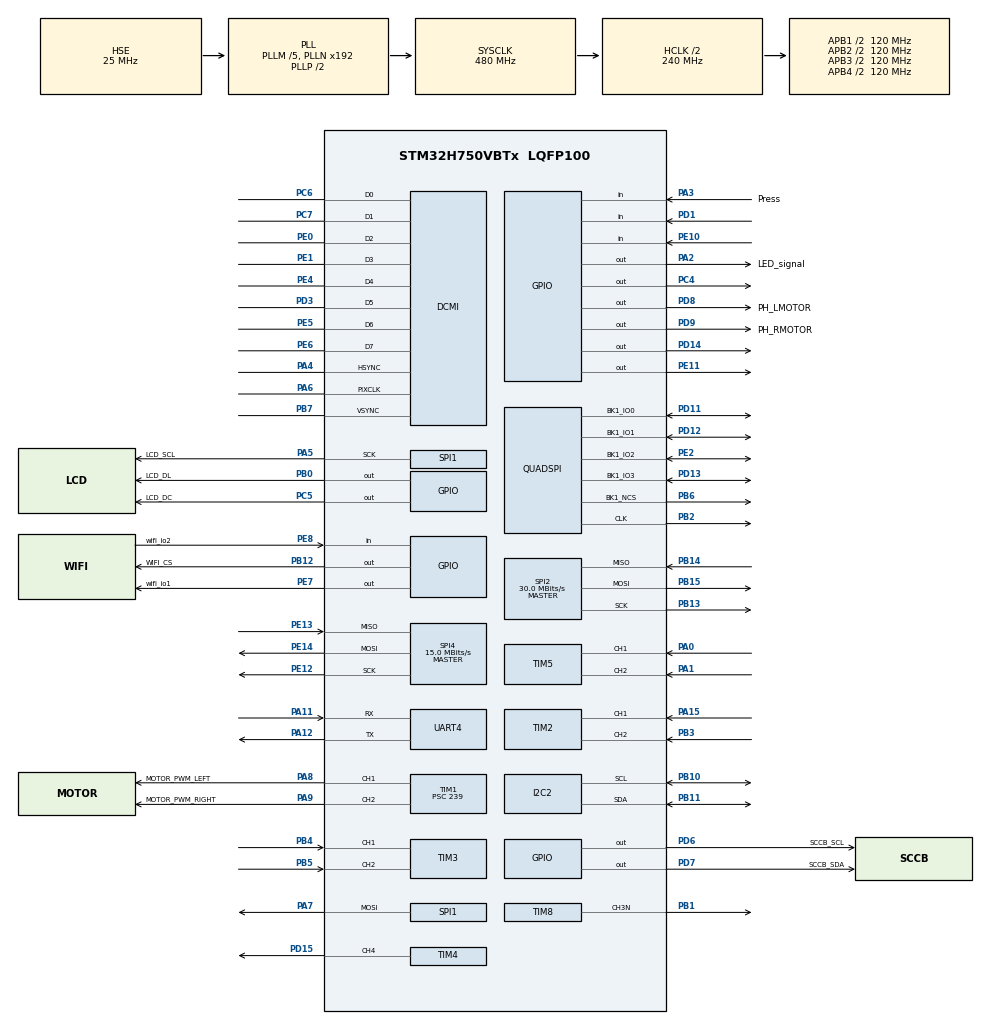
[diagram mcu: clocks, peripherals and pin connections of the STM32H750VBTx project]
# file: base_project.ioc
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CORTEX_M7.CPU_DCache=Enabled
CORTEX_M7.CPU_ICache=Enabled
CORTEX_M7.default_mode_Activation=0
Dma.DCMI.0.Direction=DMA_PERIPH_TO_MEMORY
Dma.DCMI.0.EventEnable=DISABLE
Dma.DCMI.0.FIFOMode=DMA_FIFOMODE_ENABLE
Dma.DCMI.0.FIFOThreshold=DMA_FIFO_THRESHOLD_FULL
Dma.DCMI.0.Instance=DMA2_Stream7
Dma.DCMI.0.MemBurst=DMA_MBURST_SINGLE
Dma.DCMI.0.MemDataAlignment=DMA_MDATAALIGN_WORD
Dma.DCMI.0.MemInc=DMA_MINC_ENABLE
Dma.DCMI.0.Mode=DMA_CIRCULAR
Dma.DCMI.0.PeriphBurst=DMA_PBURST_SINGLE
Dma.DCMI.0.PeriphDataAlignment=DMA_PDATAALIGN_WORD
Dma.DCMI.0.PeriphInc=DMA_PINC_DISABLE
Dma.DCMI.0.Polarity=HAL_DMAMUX_REQ_GEN_RISING
Dma.DCMI.0.Priority=DMA_PRIORITY_LOW
Dma.DCMI.0.RequestNumber=1
Dma.DCMI.0.SignalID=NONE
Dma.DCMI.0.SyncEnable=DISABLE
Dma.DCMI.0.SyncPolarity=HAL_DMAMUX_SYNC_NO_EVENT
Dma.DCMI.0.SyncRequestNumber=1
Dma.DCMI.0.SyncSignalID=NONE
Dma.Request0=DCMI
I2C2.Timing=0x307075B1
Mcu.Family=STM32H7
Mcu.Name=STM32H750VBTx
Mcu.Package=LQFP100
NVIC.DCMI_IRQn=true\:5\:0\:true\:false\:true\:true\:true\:true
NVIC.DMA2_Stream7_IRQn=true\:0\:0\:false\:false\:true\:false\:true\:true
NVIC.PriorityGroup=NVIC_PRIORITYGROUP_4
NVIC.TIM15_IRQn=true\:0\:0\:false\:false\:true\:true\:true\:true
NVIC.TIM16_IRQn=true\:0\:0\:false\:false\:true\:true\:true\:true
NVIC.TIM3_IRQn=true\:12\:0\:true\:false\:true\:true\:true\:true
NVIC.TIM6_DAC_IRQn=true\:7\:0\:true\:false\:true\:true\:true\:true
NVIC.TIM7_IRQn=true\:8\:0\:true\:false\:true\:true\:true\:true
NVIC.UART4_IRQn=true\:0\:0\:false\:false\:true\:true\:true\:true
PA0.GPIO_Speed=GPIO_SPEED_FREQ_VERY_HIGH
PA0.Signal=S_TIM5_CH1
PA1.GPIO_Speed=GPIO_SPEED_FREQ_VERY_HIGH
PA1.Signal=S_TIM5_CH2
PA11.Mode=Asynchronous
PA11.Signal=UART4_RX
PA12.Mode=Asynchronous
PA12.Signal=UART4_TX
PA13\ (JTMS/SWDIO).Mode=Serial_Wire
PA13\ (JTMS/SWDIO).Signal=DEBUG_JTMS-SWDIO
PA14\ (JTCK/SWCLK).Mode=Serial_Wire
PA14\ (JTCK/SWCLK).Signal=DEBUG_JTCK-SWCLK
PA15\ (JTDI).GPIO_Speed=GPIO_SPEED_FREQ_VERY_HIGH
PA15\ (JTDI).Signal=S_TIM2_CH1_ETR
PA2.GPIO_Label=LED_signal
PA2.PinState=GPIO_PIN_SET
PA2.Signal=GPIO_Output
PA3.GPIO_Label=Press
PA3.GPIO_PuPd=GPIO_PULLUP
PA3.Signal=GPIO_Input
PA4.Mode=Slave_8_bits_External_Synchro
PA4.Signal=DCMI_HSYNC
PA5.GPIO_Label=LCD_SCL
PA5.GPIO_Speed=GPIO_SPEED_FREQ_VERY_HIGH
PA5.Mode=TX_Only_Simplex_Unidirect_Master
PA5.Signal=SPI1_SCK
PA6.Mode=Slave_8_bits_External_Synchro
PA6.Signal=DCMI_PIXCLK
PA7.GPIO_Speed=GPIO_SPEED_FREQ_VERY_HIGH
PA7.Mode=TX_Only_Simplex_Unidirect_Master
PA7.Signal=SPI1_MOSI
PA8.GPIO_Label=MOTOR_PWM_LEFT
PA8.Signal=S_TIM1_CH1
PA9.GPIO_Label=MOTOR_PWM_RIGHT
PA9.Signal=S_TIM1_CH2
PB0.GPIO_Label=LCD_DL
PB0.GPIO_Speed=GPIO_SPEED_FREQ_LOW
PB0.Signal=GPIO_Output
PB1.Mode=PWM Generation3 CH3N
PB1.Signal=TIM8_CH3N
PB10.Mode=I2C
PB10.Signal=I2C2_SCL
PB11.Mode=I2C
PB11.Signal=I2C2_SDA
PB12.GPIO_Label=WIFI_CS
PB12.GPIO_Speed=GPIO_SPEED_FREQ_VERY_HIGH
PB12.Signal=GPIO_Output
PB13.Mode=Full_Duplex_Master
PB13.Signal=SPI2_SCK
PB14.Mode=Full_Duplex_Master
PB14.Signal=SPI2_MISO
PB15.Mode=Full_Duplex_Master
PB15.Signal=SPI2_MOSI
PB2.Mode=Single Bank 1
PB2.Signal=QUADSPI_CLK
PB3\ (JTDO/TRACESWO).GPIO_Speed=GPIO_SPEED_FREQ_VERY_HIGH
PB3\ (JTDO/TRACESWO).Signal=S_TIM2_CH2
PB4\ (NJTRST).Signal=S_TIM3_CH1
PB5.Signal=S_TIM3_CH2
PB6.Mode=Single Bank 1
PB6.Signal=QUADSPI_BK1_NCS
PB7.Mode=Slave_8_bits_External_Synchro
PB7.Signal=DCMI_VSYNC
PC14-OSC32_IN\ (OSC32_IN).Mode=LSE-External-Oscillator
PC14-OSC32_IN\ (OSC32_IN).Signal=RCC_OSC32_IN
PC15-OSC32_OUT\ (OSC32_OUT).Mode=LSE-External-Oscillator
PC15-OSC32_OUT\ (OSC32_OUT).Signal=RCC_OSC32_OUT
PC4.GPIO_Speed=GPIO_SPEED_FREQ_VERY_HIGH
PC4.Signal=GPIO_Output
PC5.GPIO_Label=LCD_DC
PC5.GPIO_Speed=GPIO_SPEED_FREQ_LOW
PC5.Signal=GPIO_Output
PC6.Mode=Slave_8_bits_External_Synchro
PC6.Signal=DCMI_D0
PC7.Mode=Slave_8_bits_External_Synchro
PC7.Signal=DCMI_D1
PD1.GPIO_PuPd=GPIO_PULLUP
PD1.Signal=GPIO_Input
PD11.Mode=Single Bank 1
PD11.Signal=QUADSPI_BK1_IO0
PD12.Mode=Single Bank 1
PD12.Signal=QUADSPI_BK1_IO1
PD13.Mode=Single Bank 1
PD13.Signal=QUADSPI_BK1_IO3
PD14.Signal=GPIO_Output
PD15.Signal=S_TIM4_CH4
PD3.Mode=Slave_8_bits_External_Synchro
PD3.Signal=DCMI_D5
PD6.GPIO_Label=SCCB_SCL
PD6.GPIO_ModeDefaultOutputPP=GPIO_MODE_OUTPUT_OD
PD6.GPIO_PuPd=GPIO_PULLUP
PD6.GPIO_Speed=GPIO_SPEED_FREQ_LOW
PD6.Signal=GPIO_Output
PD7.GPIO_Label=SCCB_SDA
PD7.GPIO_ModeDefaultOutputPP=GPIO_MODE_OUTPUT_OD
PD7.GPIO_PuPd=GPIO_PULLUP
PD7.GPIO_Speed=GPIO_SPEED_FREQ_LOW
PD7.Signal=GPIO_Output
PD8.GPIO_Label=PH_LMOTOR
PD8.PinState=GPIO_PIN_SET
PD8.Signal=GPIO_Output
PD9.GPIO_Label=PH_RMOTOR
PD9.PinState=GPIO_PIN_SET
PD9.Signal=GPIO_Output
PE0.Mode=Slave_8_bits_External_Synchro
PE0.Signal=DCMI_D2
PE1.Mode=Slave_8_bits_External_Synchro
PE1.Signal=DCMI_D3
PE10.GPIO_PuPd=GPIO_PULLUP
PE10.Signal=GPIO_Input
PE11.GPIO_PuPd=GPIO_PULLUP
PE11.GPIO_Speed=GPIO_SPEED_FREQ_VERY_HIGH
PE11.Signal=GPIO_Output
PE12.GPIO_Speed=GPIO_SPEED_FREQ_VERY_HIGH
PE12.Mode=Full_Duplex_Master
PE12.Signal=SPI4_SCK
PE13.GPIO_Speed=GPIO_SPEED_FREQ_VERY_HIGH
PE13.Mode=Full_Duplex_Master
PE13.Signal=SPI4_MISO
PE14.GPIO_Speed=GPIO_SPEED_FREQ_VERY_HIGH
PE14.Mode=Full_Duplex_Master
PE14.Signal=SPI4_MOSI
PE2.Mode=Single Bank 1
PE2.Signal=QUADSPI_BK1_IO2
PE4.Mode=Slave_8_bits_External_Synchro
PE4.Signal=DCMI_D4
PE5.Mode=Slave_8_bits_External_Synchro
PE5.Signal=DCMI_D6
PE6.Mode=Slave_8_bits_External_Synchro
PE6.Signal=DCMI_D7
PE7.GPIO_Label=wifi_io1
PE7.PinState=GPIO_PIN_SET
PE7.Signal=GPIO_Output
PE8.GPIO_Label=wifi_io2
PE8.Signal=GPIO_Input
PH0-OSC_IN\ (PH0).Mode=HSE-External-Oscillator
PH0-OSC_IN\ (PH0).Signal=RCC_OSC_IN
PH1-OSC_OUT\ (PH1).Mode=HSE-External-Oscillator
PH1-OSC_OUT\ (PH1).Signal=RCC_OSC_OUT
ProjectManager.HeapSize=0x200
ProjectManager.StackSize=0x400
ProjectManager.TargetToolchain=MDK-ARM V5.32
RCC.ADCFreq_Value=120000000
RCC.APB1Freq_Value=120000000
RCC.APB2Freq_Value=120000000
RCC.APB3Freq_Value=120000000
RCC.APB4Freq_Value=120000000
RCC.CortexFreq_Value=480000000
RCC.D1PPRE=RCC_APB3_DIV2
RCC.D2PPRE1=RCC_APB1_DIV2
RCC.D2PPRE2=RCC_APB2_DIV2
RCC.D3PPRE=RCC_APB4_DIV2
RCC.DIVM1=5
RCC.DIVM2=15
RCC.DIVN1=192
RCC.DIVN2=144
RCC.DIVQ1=20
RCC.HCLKFreq_Value=240000000
RCC.HPRE=RCC_HCLK_DIV2
RCC.PLL2FRACN=0
RCC.PLL3FRACN=0
RCC.PLLFRACN=0
RCC.PLLSourceVirtual=RCC_PLLSOURCE_HSE
RCC.SPI123CLockSelection=RCC_SPI123CLKSOURCE_PLL2
RCC.SYSCLKFreq_VALUE=480000000
RCC.SYSCLKSource=RCC_SYSCLKSOURCE_PLLCLK
RCC.USBFreq_Value=48000000
SH.S_TIM1_CH1.0=TIM1_CH1,PWM Generation1 CH1
SH.S_TIM1_CH2.0=TIM1_CH2,PWM Generation2 CH2
SH.S_TIM2_CH1_ETR.0=TIM2_CH1,Encoder_Interface
SH.S_TIM2_CH2.0=TIM2_CH2,Encoder_Interface
SH.S_TIM3_CH1.0=TIM3_CH1,Encoder_Interface
SH.S_TIM3_CH2.0=TIM3_CH2,Encoder_Interface
SH.S_TIM4_CH4.0=TIM4_CH4,PWM Generation4 CH4
SH.S_TIM5_CH1.0=TIM5_CH1,Encoder_Interface
SH.S_TIM5_CH2.0=TIM5_CH2,Encoder_Interface
SPI1.BaudRatePrescaler=SPI_BAUDRATEPRESCALER_2
SPI1.CalculateBaudRate=60.0 MBits/s
SPI1.DataSize=SPI_DATASIZE_8BIT
SPI1.Direction=SPI_DIRECTION_2LINES_TXONLY
SPI1.Mode=SPI_MODE_MASTER
SPI1.VirtualType=VM_MASTER
SPI2.BaudRatePrescaler=SPI_BAUDRATEPRESCALER_4
SPI2.CLKPhase=SPI_PHASE_2EDGE
SPI2.CLKPolarity=SPI_POLARITY_HIGH
SPI2.CalculateBaudRate=30.0 MBits/s
SPI2.DataSize=SPI_DATASIZE_8BIT
SPI2.Direction=SPI_DIRECTION_2LINES
SPI2.Mode=SPI_MODE_MASTER
SPI2.VirtualType=VM_MASTER
SPI4.BaudRatePrescaler=SPI_BAUDRATEPRESCALER_8
SPI4.CLKPolarity=SPI_POLARITY_LOW
SPI4.CalculateBaudRate=15.0 MBits/s
SPI4.DataSize=SPI_DATASIZE_8BIT
SPI4.Direction=SPI_DIRECTION_2LINES
SPI4.Mode=SPI_MODE_MASTER
SPI4.NSSPMode=SPI_NSS_PULSE_DISABLE
SPI4.VirtualType=VM_MASTER
STMicroelectronics.X-CUBE-ALGOBUILD.1.4.0.LibraryCcDSPOoLibraryJjDSPOoLibrary=true
TIM1.Channel-PWM\ Generation1\ CH1=TIM_CHANNEL_1
TIM1.Channel-PWM\ Generation2\ CH2=TIM_CHANNEL_2
TIM1.Period=999
TIM1.Prescaler=239
TIM15.Period=65217
TIM15.Prescaler=183
TIM16.Period=1199
TIM16.Prescaler=999
TIM2.EncoderMode=TIM_ENCODERMODE_TI12
TIM3.EncoderMode=TIM_ENCODERMODE_TI12
TIM4.Channel-PWM\ Generation4\ CH4=TIM_CHANNEL_4
TIM5.EncoderMode=TIM_ENCODERMODE_TI12
TIM6.AutoReloadPreload=TIM_AUTORELOAD_PRELOAD_ENABLE
TIM6.Period=99
TIM6.Prescaler=24999
TIM7.AutoReloadPreload=TIM_AUTORELOAD_PRELOAD_ENABLE
TIM7.Period=499
TIM7.Prescaler=23999
TIM8.Channel-PWM\ Generation3\ CH3N=TIM_CHANNEL_3
VP_MEMORYMAP_VS_MEMORYMAP.Mode=CurAppReg
VP_STMicroelectronics.X-CUBE-ALGOBUILD_VS_DSPOoLibraryJjLibrary_1.4.0_1.4.0.Mode=DSPOoLibraryJjLibrary
VP_TIM15_VS_ClockSourceINT.Mode=Internal
VP_TIM16_VS_ClockSourceINT.Mode=Enable_Timer
VP_TIM1_VS_ClockSourceINT.Mode=Internal
VP_TIM6_VS_ClockSourceINT.Mode=Enable_Timer
VP_TIM7_VS_ClockSourceINT.Mode=Enable_Timer
VP_TIM8_VS_ClockSourceINT.Mode=Internal
board=custom

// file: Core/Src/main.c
/* USER CODE BEGIN Header */
/**
  ******************************************************************************
  * @file           : main.c
  * @brief          : Main program body
  ******************************************************************************
  * @attention
  *
  * Copyright (c) 2025 STMicroelectronics.
  * All rights reserved.
  *
  * This software is licensed under terms that can be found in the LICENSE file
  * in the root directory of this software component.
  * If no LICENSE file comes with this software, it is provided AS-IS.
  *
  ******************************************************************************
  */
/* USER CODE END Header */
#include "main.h"
#include "dcmi.h"
#include "dma.h"
#include "i2c.h"
#include "quadspi.h"
#include "spi.h"
#include "tim.h"
#include "usart.h"
#include "gpio.h"

/* USER CODE BEGIN Includes */
#include "lcd_spi_200.h"
#include "dcmi_ov2640.h"
#include "Binarization.h"
#include "Element_recognition.h"
#include "image.h"
#include "LQ_Transfer_Image.h"
#include "integral.h"
#include "control.h"
#include "ICM-42688P.h"
#include "motor.h"
#include "control_pid.h"
#include "element_state_machine.h"

//#include ""
//#include "ICM42688P_Simple.h"
/* USER CODE END Includes */

/* USER CODE BEGIN PTD */
PIDController PID_image;
PIDController PID_speed;
/* USER CODE END PTD */

/* USER CODE BEGIN PD */
uint8_t receive_flag,v=5;
float speed =5.5f; //speed 7 p 7m/s

/* USER CODE END PD */

/* USER CODE BEGIN PV */
//extern IMU_Data imu_data;  // 声明外部 IMU 数据结构
/* USER CODE END PV */

void SystemClock_Config(void);
void PeriphCommonClock_Config(void);

/* USER CODE BEGIN 0 */
void MPU_Config(void);
/* USER CODE END 0 */

int main(void)
{

  /* USER CODE BEGIN 1 */
	MPU_Config();
  /* USER CODE END 1 */

  /* Enable the CPU Cache */

  /* Enable I-Cache---------------------------------------------------------*/
  SCB_EnableICache();

  /* Enable D-Cache---------------------------------------------------------*/
  SCB_EnableDCache();

  /* MCU Configuration--------------------------------------------------------*/

  /* Reset of all peripherals, Initializes the Flash interface and the Systick. */
  HAL_Init();

  /* Configure the system clock */
  SystemClock_Config();

  /* Configure the peripherals common clocks */
  PeriphCommonClock_Config();

  /* Initialize all configured peripherals */
  MX_GPIO_Init();
  MX_DMA_Init();
  MX_SPI4_Init();
  MX_DCMI_Init();
  MX_TIM6_Init();
  MX_TIM1_Init();
  MX_TIM2_Init();
  MX_TIM3_Init();
  MX_TIM7_Init();
  MX_I2C2_Init();
  MX_SPI2_Init();
  MX_QUADSPI_Init();
  MX_SPI1_Init();
  MX_TIM5_Init();
  MX_TIM8_Init();
  MX_UART4_Init();
  MX_TIM15_Init();
  MX_TIM16_Init();
  MX_TIM4_Init();
  /* USER CODE BEGIN 2 */
  /*----------------------------外设初始化--------------------------------------*/
	LCD_Init();
	OV2640_Init();
	OV2640_DMA_Transmit_Continuous(Camera_Buffer, OV2640_BufferSize);
	ICM42688P_Init();
	motor_init();
	TR_driver_init();
/*-----------------------------状态机-----------------------------------------*/
	 element_state_machine_init();
  /*----------------------------控制初始化--------------------------------------*/
	cascade_pid_init(0.008f,
                                  0.08f, 0.0f, 0.0f,   // 图像PID参数
                                 75.0f, 0.0f, 0.0f); // 右轮PID参数 // PID参数可根据需要调整
//	pid_init(&PID_image,1.0,0,0,0);
//	pid_init(&PID_speed,1.0,0,0,0);

	// 启动编码器模式（不使用中断，仅计数）
    HAL_TIM_Encoder_Start(&htim2, TIM_CHANNEL_ALL);
    HAL_TIM_Encoder_Start(&htim5, TIM_CHANNEL_ALL);

    // 启动 TIM15 中断
    HAL_TIM_Base_Start_IT(&htim15);
	HAL_TIM_Base_Start_IT(&htim16);
  /* USER CODE END 2 */

  /* Infinite loop */
  while (1)
  {

    /* USER CODE BEGIN 3 */
	  /*-----------------------------状态机-----------------------------------------*/
		element_state_machine_update();
	  //	  if(watch.InLoop==2)
//	  {
////		  speed =2.0f;
////		  v=5;
////		  cascade_pid_init(0.008f,
////                                  0.25f, 0.0f, 0.0f,   // 图像PID参数
////                                 20.0f, 0.0f, 0.0f);
//		  distance_integral.integeral_flag=1;
//		  if(distance_integral.integeral_data>300)//150
//		  {
//			  watch.InLoop=10;
//			  clear_distant_integeral();
//			  //distance_integral.integeral_flag=0;
//		  }
//	}
//	  if(watch.InLoop==10)
//	  {
//		 distance_integral.integeral_flag=1;
//		  if(distance_integral.integeral_data>400)//150
//		  {
//			  watch.InLoop=4;
//			  clear_distant_integeral();
//			  //distance_integral.integeral_flag=0;
//		  }
//	  }
//	  if(watch.InLoop==4)
//	  {
//		 distance_integral.integeral_flag=1;
//		  if(distance_integral.integeral_data>300)//150
//		  {
//			  watch.InLoop=11;
////			  speed=7.0f;
////			  v=5;
////			  cascade_pid_init(0.08f,
////                                  0.75f, 0.0f, 0.0f,   // 图像PID参数
////                                 50.0f, 0.0f, 0.0f);
//			  clear_distant_integeral();
//			  //distance_integral.integeral_flag=0;
//		  }
//	  }

//	  if(watch.InLoop==5)
//	  {
//		 distance_integral.integeral_flag=1;
//		  if(distance_integral.integeral_data>100)//150
//		  {
//			  watch.InLoop=13;
//			  clear_distant_integeral();
//			  //distance_integral.integeral_flag=0;
//		  }
//	  }
		/*---------------------------以下为图像区域--------------------------------*/
	if (DCMI_FrameState == 1)	// 采集到了一帧图像
		{
			DCMI_FrameState = 0;		// 清零标志位

			// 大津法全局二值化
			Global_Binarization();
			// 自适应阈值二值化
			//Adaptive_Binarization(119, 5);
			// Sauvola自适应二值化
			//Sauvola_Binarization(99, 0.5f, 32767.0f);

			// 显示摄像头图像
			//显示原图像
			show_ov2640_image_from_ptr_array(0, 120, mt9v03x_image, Display_Width, Display_Height, Display_Width, Display_Height, 0);
			//显示二值化扫线图
			show_ov2640_image_int8(0, 0, imo[0], Display_Width, Display_Height, Display_Width, Display_Height);

			image_process();

			// wifi图传
			//TR_Write_Image_Pixle(120, 188, imo[0]);

		}
		LCD_DisplayDecimals(220,150,control.error,3,1);

		//LCD_DisplayDecimals(220, 190, control.left_speed, 3,5);
		//LCD_DisplayDecimals(220, 170, control.right_speed, 3,5);
		//LCD_DisplayDecimals(220,150,straight_error_get(),3,1);
		//LCD_DisplayDecimals(220,130,receive_flag,2,0);

		LCD_DisplayDecimals(200,20,watch.InLoop,1,0);
		LCD_DisplayDecimals(200,40,watch.InLoopAngleL,1,0);
		LCD_DisplayDecimals(200,60,watch.InLoopCirc,1,0);
		LCD_DisplayDecimals(200,80,watch.InLoopAngle2_x,1,0);
		LCD_DisplayDecimals(200,100,watch.InLoopAngle2_y,1,0);

        LCD_DisplayDecimals(200, 220, watch.zebra_flag, 1, 0);

//		//日志回传
//		TR_Log_AddByte(watch.InLoop);
//		TR_Log_AddByte(watch.InLoopAngle2);
//		TR_Log_AddByte(watch.InLoopAngle2_x);
//		TR_Log_AddByte(watch.InLoopAngle2_y);
//		TR_Log_AddByte(watch.InLoopAngleL);
//		TR_Log_AddByte(watch.InLoopCirc);
//		TR_Send_Log();
		//TR_Log_Clear();
	/*----------------------------图像测试-----------------------------*/
//	if(watch.InLoop!=5&&watch.InLoop!=11)
//	{
//		left_ring_first_angle();
//		left_ring_circular_arc();
//		left_ring_second_angle();
//		left_ring_begin_turn();
//		left_ring_prepare_out();
//		left_ring_out_angle();
//		left_ring_out_loop_turn();
////		left_ring_out_loop();
////		left_ring_straight_out_angle();
//		//left_ring_complete_out();
//	}
//		left_ring_linefix();
//	if(imu_data.gyro_y>5)
//	{
//		speed=25.0f;
//		distant_integeral(50);
//	}
//	if(imu_data.gyro_y<-10)
//	{
//		speed=3.0f;
//		clear_angle_integeral();
//	}

    /*---------------------------以下为控制区域--------------------------------*/

  }
  /* USER CODE END 3 */
}

void SystemClock_Config(void)
{
  RCC_OscInitTypeDef RCC_OscInitStruct = {0};
  RCC_ClkInitTypeDef RCC_ClkInitStruct = {0};

  /** Supply configuration update enable
  */
  HAL_PWREx_ConfigSupply(PWR_LDO_SUPPLY);

  /** Configure the main internal regulator output voltage
  */
  __HAL_PWR_VOLTAGESCALING_CONFIG(PWR_REGULATOR_VOLTAGE_SCALE0);

  while(!__HAL_PWR_GET_FLAG(PWR_FLAG_VOSRDY)) {}

  /** Initializes the RCC Oscillators according to the specified parameters
  * in the RCC_OscInitTypeDef structure.
  */
  RCC_OscInitStruct.OscillatorType = RCC_OSCILLATORTYPE_HSE;
  RCC_OscInitStruct.HSEState = RCC_HSE_ON;
  RCC_OscInitStruct.PLL.PLLState = RCC_PLL_ON;
  RCC_OscInitStruct.PLL.PLLSource = RCC_PLLSOURCE_HSE;
  RCC_OscInitStruct.PLL.PLLM = 5;
  RCC_OscInitStruct.PLL.PLLN = 192;
  RCC_OscInitStruct.PLL.PLLP = 2;
  RCC_OscInitStruct.PLL.PLLQ = 20;
  RCC_OscInitStruct.PLL.PLLR = 2;
  RCC_OscInitStruct.PLL.PLLRGE = RCC_PLL1VCIRANGE_2;
  RCC_OscInitStruct.PLL.PLLVCOSEL = RCC_PLL1VCOWIDE;
  RCC_OscInitStruct.PLL.PLLFRACN = 0;
  if (HAL_RCC_OscConfig(&RCC_OscInitStruct) != HAL_OK)
  {
    Error_Handler();
  }

  /** Initializes the CPU, AHB and APB buses clocks
  */
  RCC_ClkInitStruct.ClockType = RCC_CLOCKTYPE_HCLK|RCC_CLOCKTYPE_SYSCLK
                              |RCC_CLOCKTYPE_PCLK1|RCC_CLOCKTYPE_PCLK2
                              |RCC_CLOCKTYPE_D3PCLK1|RCC_CLOCKTYPE_D1PCLK1;
  RCC_ClkInitStruct.SYSCLKSource = RCC_SYSCLKSOURCE_PLLCLK;
  RCC_ClkInitStruct.SYSCLKDivider = RCC_SYSCLK_DIV1;
  RCC_ClkInitStruct.AHBCLKDivider = RCC_HCLK_DIV2;
  RCC_ClkInitStruct.APB3CLKDivider = RCC_APB3_DIV2;
  RCC_ClkInitStruct.APB1CLKDivider = RCC_APB1_DIV2;
  RCC_ClkInitStruct.APB2CLKDivider = RCC_APB2_DIV2;
  RCC_ClkInitStruct.APB4CLKDivider = RCC_APB4_DIV2;

  if (HAL_RCC_ClockConfig(&RCC_ClkInitStruct, FLASH_LATENCY_4) != HAL_OK)
  {
    Error_Handler();
  }
}

void PeriphCommonClock_Config(void)
{
  RCC_PeriphCLKInitTypeDef PeriphClkInitStruct = {0};

  /** Initializes the peripherals clock
  */
  PeriphClkInitStruct.PeriphClockSelection = RCC_PERIPHCLK_SPI2|RCC_PERIPHCLK_SPI1;
  PeriphClkInitStruct.PLL2.PLL2M = 15;
  PeriphClkInitStruct.PLL2.PLL2N = 144;
  PeriphClkInitStruct.PLL2.PLL2P = 2;
  PeriphClkInitStruct.PLL2.PLL2Q = 2;
  PeriphClkInitStruct.PLL2.PLL2R = 2;
  PeriphClkInitStruct.PLL2.PLL2RGE = RCC_PLL2VCIRANGE_0;
  PeriphClkInitStruct.PLL2.PLL2VCOSEL = RCC_PLL2VCOWIDE;
  PeriphClkInitStruct.PLL2.PLL2FRACN = 0;
  PeriphClkInitStruct.Spi123ClockSelection = RCC_SPI123CLKSOURCE_PLL2;
  if (HAL_RCCEx_PeriphCLKConfig(&PeriphClkInitStruct) != HAL_OK)
  {
    Error_Handler();
  }
}

/* USER CODE BEGIN 4 */

//	配置MPU
//
void MPU_Config(void)
{
	MPU_Region_InitTypeDef MPU_InitStruct;

	HAL_MPU_Disable();		// 先禁止MPU

	MPU_InitStruct.Enable 				= MPU_REGION_ENABLE;
	MPU_InitStruct.BaseAddress 		= 0x24000000;
	MPU_InitStruct.Size 					= MPU_REGION_SIZE_512KB;
	MPU_InitStruct.AccessPermission 	= MPU_REGION_FULL_ACCESS;
	MPU_InitStruct.IsBufferable 		= MPU_ACCESS_BUFFERABLE;
	MPU_InitStruct.IsCacheable 		= MPU_ACCESS_CACHEABLE;
	MPU_InitStruct.IsShareable 		= MPU_ACCESS_SHAREABLE;
	MPU_InitStruct.Number 				= MPU_REGION_NUMBER0;
	MPU_InitStruct.TypeExtField 		= MPU_TEX_LEVEL0;
	MPU_InitStruct.SubRegionDisable 	= 0x00;
	MPU_InitStruct.DisableExec 		= MPU_INSTRUCTION_ACCESS_ENABLE;

	HAL_MPU_ConfigRegion(&MPU_InitStruct);

	HAL_MPU_Enable(MPU_PRIVILEGED_DEFAULT);	// 使能MPU
}

void HAL_TIM_PeriodElapsedCallback(TIM_HandleTypeDef *htim)
{
  // 检查是否是TIM15的更新事件中断
  if (htim->Instance == TIM15)
  {
	//50ms

	//TR_Receive_Packet(&receive_flag,16,1);
    //进行陀螺仪数据收集和积分
    ICM42688P_ReadIMUData(&imu_data);
    angal_integeral(imu_data.gyro_z);
	//watch.Red_obstacle_flag=TOF_ReadDistanceFiltered();
	 //图像环计算
	 cascade_pid_outer_loop(speed); //目标速度设定

//	 //test
//	  g_cascade_pid.vL_target=7.0f;
//	  g_cascade_pid.vR_target=7.0f;

//	 TR_Log_AddFloat(control.left_target_speed);
//	 TR_Log_AddFloat(control.right_target_speed);

  }
  if (htim->Instance == TIM16)
  {
	  //速度决策
	  if(g_element_state==STATE_NORMAL)
	  {
		if(
			(control.error<20.0f&&control.error>-20.0f)
		//(last_left_lost_up>100||last_right_lost_up>100)
		)
		{
			//这套数据可以跑欧姆环
			speed=4.41f;
			cascade_pid_set_image_params(0.165f, 0.0f, 0.01f);
			cascade_pid_set_speed_params(80.0f, 0.0f, 0.0f);

		}
		else
		{
			speed=4.52f;
			cascade_pid_set_image_params(0.20f, 0.0f, 0.041f);
			cascade_pid_set_speed_params(55.0f, 0.0f, 0.0f);
		}
	}
	  else
	  {
		  speed=3.5f;
		cascade_pid_set_image_params(0.2f, 0.0f, 0.01f);
		cascade_pid_set_speed_params(60.0f, 0.0f, 0.0f);
	  }
	  //10ms
	  //进行编码器积分
	control.lencoder_count = (int32_t)__HAL_TIM_GET_COUNTER(&htim5);//左编码器计数
	control.rencoder_count = (int32_t)__HAL_TIM_GET_COUNTER(&htim2);//右编码器计数
    distant_integeral(get_speed());

	 //日志
	TR_Log_AddFloat(control.left_speed);
	TR_Log_AddFloat(control.right_speed);

    control.lencoder_count_last = control.lencoder_count;
    control.rencoder_count_last = control.rencoder_count;
	  //速度环计算
	  float pwm_L, pwm_R;
    //cascade_pid_control(speed,control.left_speed,control.right_speed,&pwm_L, &pwm_R);
//    // 使用上次图像环计算的速度目标（只执行速度环PID）
    cascade_pid_inner_loop(control.left_speed,
                          control.right_speed,
                          &pwm_L, &pwm_R);
	  //日志

	TR_Log_AddFloat(g_cascade_pid.vL_target);
	TR_Log_AddFloat(g_cascade_pid.vR_target);

	//TR_Log_AddUint8(straight);

	//TR_Log_AddFloat(control.error);

	//TR_Log_AddUint8(watch.InLoop);
    // 输出到电机
	if(watch.zebra_flag==0)
	{
    control.left_target_speed = (int16_t)(pwm_L);

    control.right_target_speed = (int16_t)(pwm_R);

	motor_run(&leftmotor,control.left_target_speed,v);
	motor_run(&rightmotor,control.right_target_speed,v);
	}
	else if(watch.zebra_flag==1&&HAL_GetTick()>10)
	{
		while(1)
		motor_stop();
	}
	TR_Log_AddFloat(pwm_L);
	TR_Log_AddFloat(pwm_R);
	TR_Send_Log();
	TR_Log_Clear();
  }
}
/* USER CODE END 4 */

void Error_Handler(void)
{
  __disable_irq();
  while (1)
  {
  }
}
